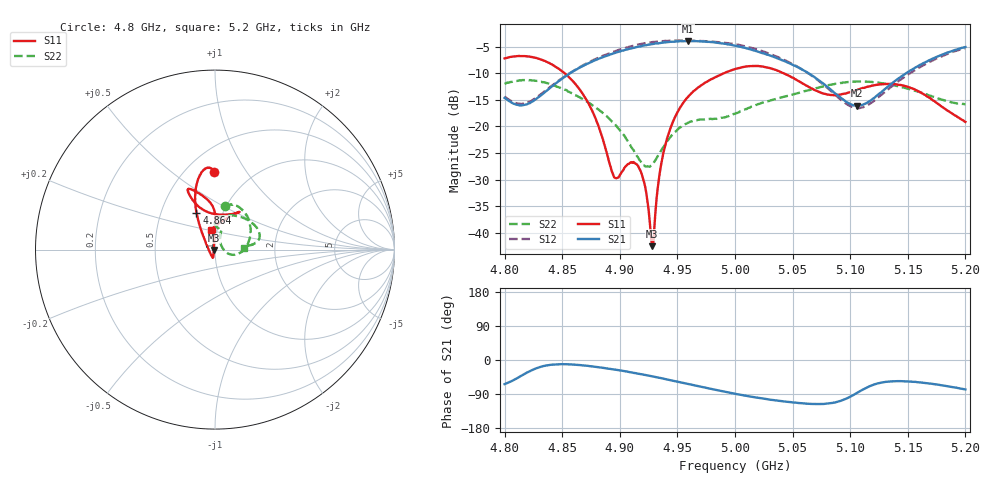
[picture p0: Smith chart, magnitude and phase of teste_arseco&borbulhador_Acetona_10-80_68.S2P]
! Network Analyzer HP8722D
! Hewlett-Packard
! Data name: Linha & Wilkinson
! Saver's name: Rodrigo Anjos
! Comments: Teste da utilização de aquisição
! continua pelo VNA HP8722D
! Time and date: 25/4/2025 15:50
!  Frequency  S11  S21  S12  S22
# HZ  S  MA R 50
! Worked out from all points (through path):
!   401 points, 4.8 GHz to 5.2 GHz, reference 50 ohm
!   highest |S21| = -3.97 dB at 4.959 GHz (marker M1); lowest = -16.1 dB at 5.106 GHz (marker M2)
!   lowest |S11| = -42.5 dB at 4.928 GHz (marker M3), VSWR 1.02, Z = 49.3 - j0.142 ohm
!   |S11| at or under -10 dB: 4.852 GHz to 4.991 GHz (138.8 MHz wide, 2.82 % of centre); 5.042 GHz to end of sweep
!   |S22| runs from -27.6 to -11.3 dB; largest |S21 - S12| = 1.2
!   S11 on the Smith chart (normalised r, x): 4.8 GHz: 0.68, +0.73; 4.864 GHz: 0.75, +0.33; 5.2 GHz: 0.94, +0.21
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4.8e9  0.4344 90.6  0.185 -63.7  0.1902 70.0  0.2505 77.1
4.82e9  0.4528 96.8  0.1621 -32.3  0.1674 98.7  0.2726 61.4
4.843e9  0.3713 106.2  0.2462 -11.9  0.2496 118.9  0.2413 36.6
4.864e9  0.2309 116.6  0.3504 -13.0  0.3533 120.9  0.1896 11.9
4.867e9  0.2075 118.3  0.3642 -14.0  0.3687 120.6  0.1824 8.5
4.88e9  0.1103 128.5  0.4244 -18.5  0.4346 118.1  0.1475 -5.4
4.895e9  0.03323 -172.5  0.4862 -25.0  0.5031 113.7  0.1062 -15.9
4.91e9  0.04605 -106.3  0.5396 -32.6  0.5657 106.9  0.06368 -13.7
4.917e9  0.03993 -103.2  0.5617 -36.6  0.5898 103.5  0.04834 -0.5
4.922e9  0.02712 -107.0  0.5771 -39.5  0.6042 100.6  0.04198 16.6
4.928e9  0.007472 -168.9  0.5926 -42.9  0.6172 97.0  0.04359 41.1
4.93e9  0.01134 126.1  0.5965 -44.4  0.6206 95.6  0.04657 48.8
4.934e9  0.03235 100.5  0.6039 -47.0  0.6287 93.2  0.05469 58.7
4.943e9  0.08962 90.6  0.6207 -52.7  0.6381 87.4  0.07712 69.3
4.959e9  0.1881 89.4  0.6333 -63.1  0.6397 77.2  0.1077 71.7
5e9  0.3454 109.0  0.5728 -89.2  0.5923 50.7  0.1316 88.4
5.03e9  0.353 115.0  0.4642 -104.4  0.4809 33.7  0.1736 85.2
5.067e9  0.2261 105.1  0.3001 -115.9  0.2974 23.6  0.2228 57.1
5.106e9  0.2196 64.5  0.1564 -86.6  0.1485 56.3  0.2632 24.7
5.134e9  0.2504 57.0  0.2421 -56.6  0.2278 88.7  0.2477 12.4
5.17e9  0.1814 70.4  0.4245 -62.4  0.4082 84.2  0.1935 6.7
5.2e9  0.1101 100.7  0.5559 -77.7  0.5452 69.9  0.1614 3.7
